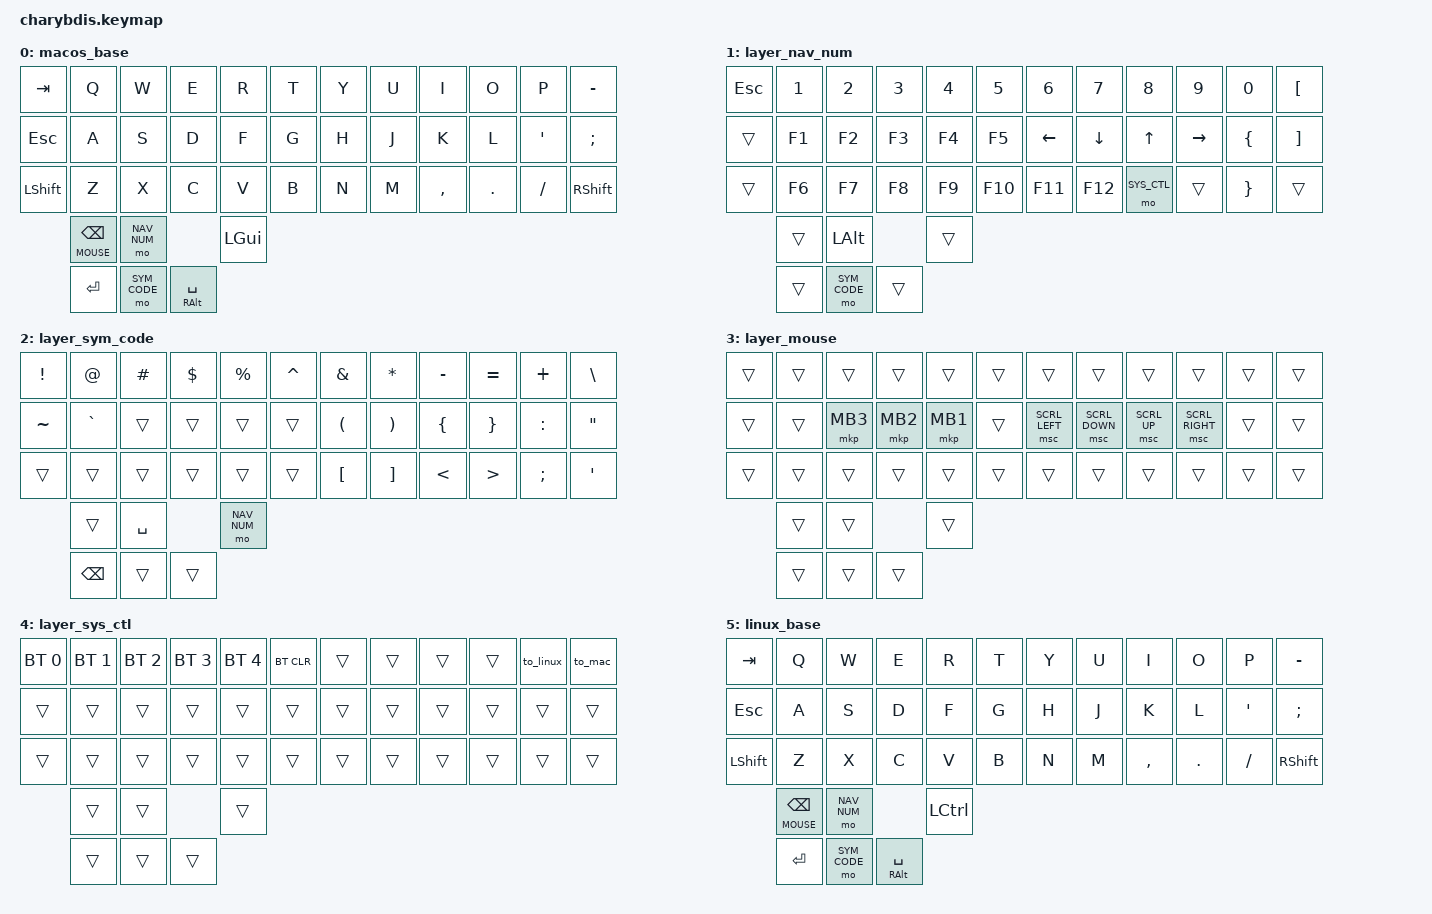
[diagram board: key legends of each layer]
#include <behaviors.dtsi>
#include <dt-bindings/zmk/keys.h>
#include <dt-bindings/zmk/bt.h>
#include <dt-bindings/zmk/pointing.h>
#include <dt-bindings/zmk/rgb.h>

/* --- DEFINICJE NAZW WARSTW --- */
#define MAC_BASE 0
#define NAV_NUM  1
#define SYM_CODE 2
#define MOUSE    3
#define SYS_CTL  4
#define LIN_BASE 5

/ {
    macros {
        /*
         * MAKRO: PRZEŁĄCZ NA MAC
         * 1. Wysyła F13 (Sygnał dla OS: "Pokaż powiadomienie MAC").
         * 2. Ustawia RGB na Biały.
         * 3. Przełącza na warstwę 0.
         */
        to_mac: switch_to_mac {
            compatible = "zmk,behavior-macro";
            #binding-cells = <0>;
            bindings
                = <&kp F13>
                , <&to MAC_BASE>;
        };

        /*
         * MAKRO: PRZEŁĄCZ NA LINUX
         * 1. Wysyła F14 (Sygnał dla OS: "Pokaż powiadomienie LINUX").
         * 2. Ustawia RGB na Zielony.
         * 3. Przełącza na warstwę 5.
         */
        to_linux: switch_to_linux {
            compatible = "zmk,behavior-macro";
            #binding-cells = <0>;
            bindings
                = <&kp F14>
                , <&to LIN_BASE>;
        };
    };

    behaviors {
        /* * MOD-TAP SPACJA (Dla polskich znaków)
         * Kliknięcie = Spacja
         * Przytrzymanie = Prawy Alt (AltGr)
         * Flavor "balanced" zapewnia najlepszą responsywność.
         */
        mt_spc: mod_tap_space {
            compatible = "zmk,behavior-hold-tap";
            #binding-cells = <2>;
            flavor = "balanced";
            tapping-term-ms = <200>;
            quick-tap-ms = <175>;
            bindings = <&kp>, <&kp>;
        };
    };

    keymap {
        compatible = "zmk,keymap";

        /* * WARSTWA 0: MAC_BASE
         * Kciuki: Lewy steruje warstwami, Prawy (z trackballem) jest wolny dla spacji/enter.
         */
        macos_base {
            bindings = <
    &kp TAB    &kp Q    &kp W    &kp E    &kp R    &kp T        &kp Y    &kp U    &kp I          &kp O        &kp P         &kp MINUS
    &kp ESC    &kp A    &kp S    &kp D    &kp F    &kp G        &kp H    &kp J    &kp K          &kp L        &kp APOS      &kp SEMI
    &kp LSHIFT &kp Z    &kp X    &kp C    &kp V    &kp B        &kp N    &kp M    &kp COMMA      &kp DOT      &kp FSLH      &kp RSHIFT

           /* LEWY KCIUK: Sprzęgło (Mysz/BSPC) | Cyfry | Command (GUI) */
           &lt MOUSE BSPC  &mo NAV_NUM &kp LGUI

           /* PRAWY KCIUK: Enter | Symbole | Spacja (hold: PL znaki) */
           &kp ENTER  &mo SYM_CODE  &mt_spc RALT SPACE
            >;
        };

        /* * WARSTWA 1: NAV_NUM
         * Cyfry po lewej, Strzałki po prawej (układ VIM HJKL).
         */
        layer_nav_num {
            bindings = <
    &kp ESC    &kp N1  &kp N2  &kp N3    &kp N4    &kp N5        &kp N6    &kp N7    &kp N8    &kp N9     &kp N0       &kp LBKT
    &trans     &kp F1  &kp F2  &kp F3    &kp F4    &kp F5        &kp LEFT  &kp DOWN  &kp UP    &kp RIGHT  &kp LBRC     &kp RBKT
    &trans     &kp F6  &kp F7  &kp F8    &kp F9    &kp F10       &kp F11   &kp F12   &mo SYS_CTL &trans   &kp RBRC     &trans
                               &trans    &kp LALT  &trans        &trans    &mo SYM_CODE  &trans
            >;
        };

        /* * WARSTWA 2: SYM_CODE (Zoptymalizowana dla Programisty Python/TS)
         * Prawa ręka Home Row: ( ) { } : "
         * Prawa ręka Dół:      [ ] < > ; '
         */
        layer_sym_code {
            bindings = <
    &kp EXCL   &kp AT     &kp HASH  &kp DOLLAR &kp PERCENT &kp CARET     &kp AMPS  &kp ASTRK &kp MINUS &kp EQUAL &kp PLUS  &kp BSLH
    &kp TILDE  &kp GRAVE  &trans    &trans     &trans      &trans        &kp LPAR  &kp RPAR  &kp LBRC  &kp RBRC  &kp COLON &kp DQT
    &trans     &trans     &trans    &trans     &trans      &trans        &kp LBKT  &kp RBKT  &kp LT    &kp GT    &kp SEMI  &kp APOS
                                    &trans     &kp SPACE   &mo NAV_NUM   &kp BSPC  &trans    &trans
            >;
        };

        /* * WARSTWA 3: MOUSE (Dla Charybdis)
         * Aktywowana trzymaniem lewego kciuka (BSPC).
         * Prawa ręka: Kulką ruszasz kursorem, a klawisze HJKL robią za SCROLL.
         * Lewa ręka: F=Lewy Klik, D=Prawy Klik, S=Środkowy Klik.
         */
        layer_mouse {
            bindings = <
    &trans     &trans     &trans     &trans     &trans      &trans        &trans          &trans          &trans        &trans           &trans    &trans

    /* LEWA RĘKA: KLIKANIE MYSZKĄ */
    &trans     &trans     &mkp MB3   &mkp MB2   &mkp MB1    &trans

    /* PRAWA RĘKA: SCROLLOWANIE (VIM) */
    &msc SCRL_LEFT &msc SCRL_DOWN &msc SCRL_UP   &msc SCRL_RIGHT &trans    &trans

    &trans     &trans     &trans     &trans     &trans      &trans        &trans          &trans          &trans        &trans           &trans    &trans
                                     &trans     &trans      &trans        &trans          &trans          &trans
            >;
        };

        /* * WARSTWA 4: SYS_CTL (Bluetooth & Zmiana Systemu)
         */
        layer_sys_ctl {
            bindings = <
    &bt BT_SEL 0 &bt BT_SEL 1 &bt BT_SEL 2 &bt BT_SEL 3 &bt BT_SEL 4 &bt BT_CLR     &trans &trans &trans &trans &to_linux &to_mac
    &trans       &trans       &trans       &trans       &trans       &trans         &trans &trans &trans &trans &trans    &trans
    &trans       &trans       &trans       &trans       &trans       &trans         &trans &trans &trans &trans &trans    &trans
                                           &trans       &trans       &trans         &trans &trans &trans
            >;
        };

        /* * WARSTWA 5: LINUX BASE
         * To samo co MAC, ale z LCTRL zamiast LGUI na lewym kciuku.
         */
        linux_base {
            bindings = <
    &kp TAB    &kp Q    &kp W    &kp E    &kp R    &kp T        &kp Y    &kp U    &kp I          &kp O        &kp P         &kp MINUS
    &kp ESC    &kp A    &kp S    &kp D    &kp F    &kp G        &kp H    &kp J    &kp K          &kp L        &kp APOS      &kp SEMI
    &kp LSHIFT &kp Z    &kp X    &kp C    &kp V    &kp B        &kp N    &kp M    &kp COMMA      &kp DOT      &kp FSLH      &kp RSHIFT

           /* LEWY KCIUK: LCTRL zamiast GUI */
           &lt MOUSE BSPC &mo NAV_NUM &kp LCTRL

           /* PRAWY KCIUK */
           &kp ENTER  &mo SYM_CODE  &mt_spc RALT SPACE
            >;
        };
    };
};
